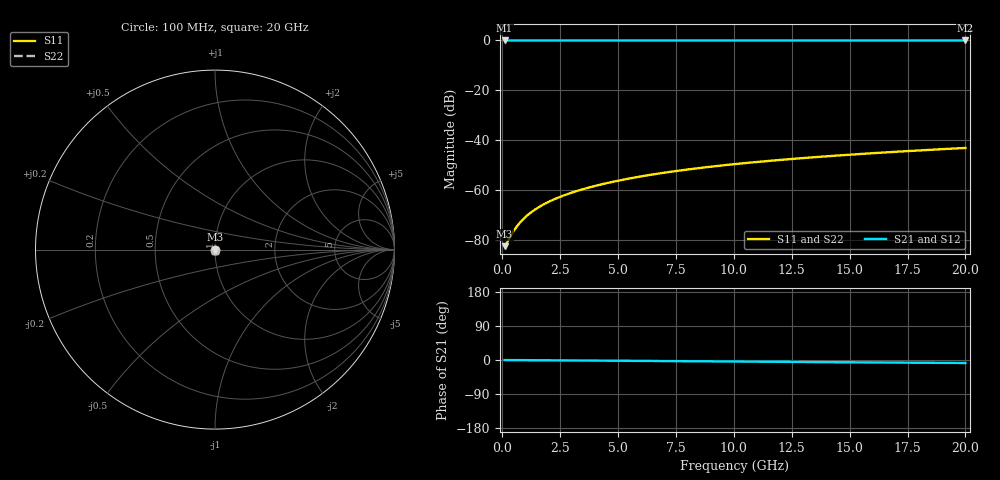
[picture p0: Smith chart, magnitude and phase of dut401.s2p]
! Touchstone file exported from HFSS 2026.1.0
!  File:  C:/ffzhzh/LocalFiles/Ansys_Project_Files/temp_train_TSV_401_1783020289_53980.aedt
!  Generated:  03:26:24 AM Jul  3, 2026
!  Design:  TSV
!  Project:  temp_train_TSV_401_1783020289_53980
! Variables:
!  h_bsmrdl = 2um
!  h_ox = 20um
!  h_rdl = 5um
!  h_sub = 78.55um
!  h_tmrdl = 5um
!  h_tsv = 78.55um
!  h_via = 3um
!  l_bsmrdl = 300um
!  l_sub = 428.36um
!  l_tmrdl = 200um
!  m_sub = 200um
!  pitch = 53.66um
!  r_tsv = 14.18um
!  s_tmrdl = 10um
!  w_bsmrdl = 18um
!  w_sub = 500um
!  w_tmrdl = 12um
!  x_tsv_center1 = 206um
!  x_tsv_center2 = 524um
!  x_tsv_center3 = 736um
!  x_tsv_center4 = 1054um
!  x_tsv_center5 = 1266um
!  x_tsv_center6 = 1584um
# GHz S MA R 50.000000
! Terminal data exported
! Port[1] = TSV1_1_T1
! Port[2] = TSV1_1_T2
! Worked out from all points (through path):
!   200 points, 100 MHz to 20 GHz, reference 50 ohm
!   highest |S21| = 0.00 dB at 100 MHz (marker M1); lowest = 0.0 dB at 20 GHz (marker M2)
!   group delay of S21, straight-line fit = 1.11 ps
!   lowest |S11| = -82.4 dB at 100 MHz (marker M3), VSWR 1.00, Z = 50 + j0.000542 ohm
!   |S11| at or under -10 dB: start of sweep to end of sweep
!   |S22| runs from -82.4 to -43.1 dB; largest |S21 - S12| = 6.4e-15
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0.1  7.588e-05 4.1  0.9999 -0.0  0.9999 -0.0  7.588e-05 4.1
! Gamma 0 0 0 0
! Port Impedance 50 0 50 0
0.2  8.911e-05 4.7  0.9999 -0.1  0.9999 -0.1  8.911e-05 4.7
0.3  0.0001079 1.7  0.9999 -0.1  0.9999 -0.1  0.0001079 1.7
0.5  0.0001546 -9.3  0.9998 -0.2  0.9998 -0.2  0.0001546 -9.3
0.6  0.0001805 -15.2  0.9998 -0.2  0.9998 -0.2  0.0001805 -15.2
0.8  0.0002348 -25.8  0.9998 -0.3  0.9998 -0.3  0.0002348 -25.8
1.1  0.0003198 -37.9  0.9997 -0.5  0.9997 -0.5  0.0003198 -37.9
1.5  0.0004365 -48.6  0.9997 -0.6  0.9997 -0.6  0.0004365 -48.6
1.9  0.0005557 -55.5  0.9997 -0.8  0.9997 -0.8  0.0005557 -55.5
2.4  0.0007079 -61.2  0.9996 -1.0  0.9996 -1.0  0.000708 -61.2
2.9  0.0008638 -65.1  0.9996 -1.2  0.9996 -1.2  0.0008638 -65.1
3.5  0.001056 -68.4  0.9996 -1.4  0.9996 -1.4  0.001056 -68.4
4.2  0.001285 -71.1  0.9995 -1.7  0.9995 -1.7  0.001285 -71.1
5  0.001554 -73.5  0.9995 -2.0  0.9995 -2.0  0.001554 -73.5
5.9  0.001864 -75.6  0.9995 -2.4  0.9995 -2.4  0.001864 -75.6
6.8  0.002179 -77.3  0.9994 -2.7  0.9994 -2.7  0.002179 -77.3
8.3  0.002712 -79.6  0.9994 -3.3  0.9994 -3.3  0.002712 -79.6
10.1  0.00336 -81.9  0.9993 -4.1  0.9993 -4.1  0.00336 -81.9
11.7  0.003941 -83.6  0.9992 -4.7  0.9992 -4.7  0.003941 -83.6
13.4  0.004564 -85.2  0.9992 -5.4  0.9992 -5.4  0.004564 -85.2
16.7  0.005787 -87.7  0.9991 -6.7  0.9991 -6.7  0.005787 -87.7
20  0.007035 -89.9  0.999 -8.0  0.999 -8.0  0.007035 -89.9
